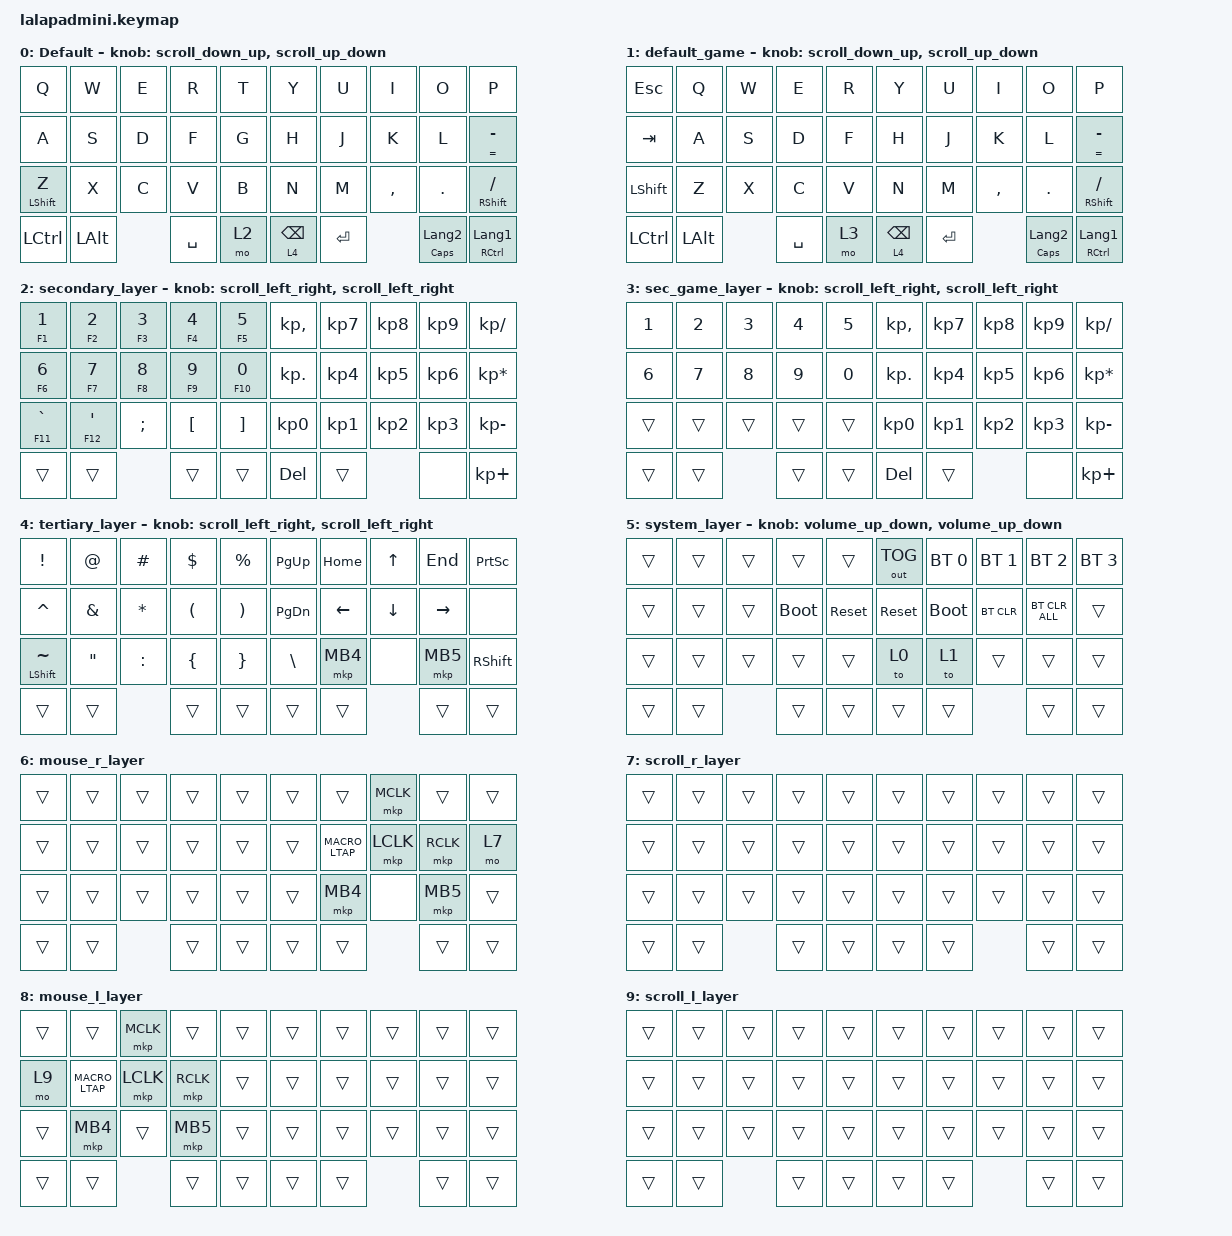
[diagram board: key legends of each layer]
#include <input/processors.dtsi>
#include <behaviors.dtsi>
#include <dt-bindings/zmk/bt.h>
#include <dt-bindings/zmk/keys.h>
#include <dt-bindings/zmk/outputs.h>
#include <dt-bindings/zmk/pointing.h>

#define DEFAULT_LAYER   0
#define SECONDARY_LAYER 2
#define TERTIARY_LAYER  4
#define SYSTEM_LAYER    5
#define MOUSE_R_LAYER   6
#define SCROLL_R_LAYER  7
#define MOUSE_L_LAYER   8
#define SCROLL_L_LAYER  9

// Mouse Scroll Value DUMMYDUMMYDUMMYDUMMYDUMMYDUMMYDUMMYDUMMYDUMMYDUMMYDUMMYDUMMYDUMMYDUMMYDUMMYbyFORKED

#define ZMK_POINTING_DEFAULT_SCRL_VAL 100

// cirque trackpad input&layer control

&glidepoint_listener_R {
    input-processors =
        <&zip_xy_transform (INPUT_TRANSFORM_XY_SWAP | INPUT_TRANSFORM_X_INVERT | INPUT_TRANSFORM_Y_INVERT)>,
        <&zip_xy_scaler 3 2>,
        <&zip_temp_layer MOUSE_R_LAYER 300>;

    lowspeedmode {
        layers = <SECONDARY_LAYER>;
        input-processors =
            <&zip_xy_transform (INPUT_TRANSFORM_XY_SWAP | INPUT_TRANSFORM_X_INVERT | INPUT_TRANSFORM_Y_INVERT)>,
            <&zip_xy_scaler 3 5>,
            <&zip_temp_layer MOUSE_R_LAYER 300>;
    };

    scroller {
        layers = <SCROLL_R_LAYER>;
        input-processors =
            <&zip_xy_to_scroll_mapper>,
            <&zip_scroll_transform (INPUT_TRANSFORM_XY_SWAP | INPUT_TRANSFORM_Y_INVERT)>,
            <&zip_scroll_scaler 1 8>;
    };
};

&glidepoint_listener_L {
    input-processors =
        <&zip_xy_transform (INPUT_TRANSFORM_XY_SWAP | INPUT_TRANSFORM_X_INVERT | INPUT_TRANSFORM_Y_INVERT)>,
        <&zip_xy_scaler 3 2>,
        <&zip_temp_layer MOUSE_L_LAYER 300>;

    lowspeedmode {
        layers = <SECONDARY_LAYER>;
        input-processors =
            <&zip_xy_transform (INPUT_TRANSFORM_XY_SWAP | INPUT_TRANSFORM_X_INVERT | INPUT_TRANSFORM_Y_INVERT)>,
            <&zip_xy_scaler 3 4>,
            <&zip_temp_layer MOUSE_L_LAYER 300>;
    };

    scroller {
        layers = <SCROLL_L_LAYER>;
        input-processors =
            <&zip_xy_to_scroll_mapper>,
            <&zip_scroll_transform (INPUT_TRANSFORM_XY_SWAP | INPUT_TRANSFORM_Y_INVERT)>,
            <&zip_scroll_scaler 1 6>;
    };
};

&mt { quick-tap-ms = <200>; };

&lt { quick-tap-ms = <200>; };

/ {
    behaviors {
        // Encoder to Mouse Scroll

        scroll_up_down: behavior_sensor_rotate_mouse_wheel_up_down {
            compatible = "zmk,behavior-sensor-rotate";
            #sensor-binding-cells = <0>;
            bindings = <&msc SCRL_UP>, <&msc SCRL_DOWN>;

            tap-ms = <20>;
        };

        scroll_down_up: behavior_sensor_rotate_mouse_wheel_down_up {
            compatible = "zmk,behavior-sensor-rotate";
            #sensor-binding-cells = <0>;
            bindings = <&msc SCRL_DOWN>, <&msc SCRL_UP>;

            tap-ms = <20>;
        };

        scroll_left_right: behavior_sensor_rotate_mouse_wheel_left_right {
            compatible = "zmk,behavior-sensor-rotate";
            #sensor-binding-cells = <0>;
            bindings = <&msc SCRL_LEFT>, <&msc SCRL_RIGHT>;

            tap-ms = <20>;
        };

        scroll_right_left: behavior_sensor_rotate_mouse_wheel_right_left {
            compatible = "zmk,behavior-sensor-rotate";
            #sensor-binding-cells = <0>;
            bindings = <&msc SCRL_RIGHT>, <&msc SCRL_LEFT>;

            tap-ms = <20>;
        };

        volume_up_down: behavior_sensor_rotate_volume_up_down {
            compatible = "zmk,behavior-sensor-rotate";
            #sensor-binding-cells = <0>;
            bindings = <&kp C_VOLUME_UP>, <&kp C_VOLUME_DOWN>;

            tap-ms = <20>;
        };

        mt2: mod_tap2 {
            compatible = "zmk,behavior-hold-tap";
            #binding-cells = <2>;
            flavor = "tap-preferred";
            tapping-term-ms = <200>;
            quick-tap-ms = <200>;
            require-prior-idle-ms = <125>;
            bindings = <&kp>, <&kp>;
        };

        tap_dance_layer_1and2: tap_dance_layer_1and2 {
            compatible = "zmk,behavior-tap-dance";
            label = "td_mo12";
            #binding-cells = <0>;
            bindings = <&mo 2>, <&mo 4>;
        };
    };

    combos {
        compatible = "zmk,combos";

        CONBO_ESC {
            bindings = <&kp ESCAPE>;
            key-positions = <0 1>;
        };

        COMBO_TAB {
            bindings = <&kp TAB>;
            key-positions = <10 11>;
        };

        COMBO_WIN {
            bindings = <&kp LWIN>;
            key-positions = <30 31>;
        };
    };

    macros {
        MACRO_LTAP: MACRO_LTAP {
            compatible = "zmk,behavior-macro";
            #binding-cells = <0>;
            bindings = <&mkp LCLK>;
            label = "MACRO_LTAP";
        };
    };

    keymap {
        compatible = "zmk,keymap";

        DEFAULT_LAYER {
            display-name = "Default";
            sensor-bindings = <&scroll_down_up>, <&scroll_up_down>;

            bindings = <
&kp Q             &kp W         &kp E  &kp R      &kp T  &kp Y            &kp U      &kp I      &kp O                    &kp P
&kp A             &kp S         &kp D  &kp F      &kp G  &kp H            &kp J      &kp K      &kp L                    &mt2 EQUAL MINUS
&mt LEFT_SHIFT Z  &kp X         &kp C  &kp V      &kp B  &kp N            &kp M      &kp COMMA  &kp PERIOD               &mt RSHIFT SLASH
&kp LCTRL         &kp LEFT_ALT         &kp SPACE  &mo 2  &lt 4 BACKSPACE  &kp ENTER             &mt CAPSLOCK LANGUAGE_2  &mt RCTRL LANGUAGE_1
            >;
        };

        DEF_GAME {
            display-name = "default_game";
            bindings = <
&kp ESC    &kp Q         &kp W  &kp E      &kp R  &kp Y            &kp U      &kp I      &kp O                    &kp P
&kp TAB    &kp A         &kp S  &kp D      &kp F  &kp H            &kp J      &kp K      &kp L                    &mt2 EQUAL MINUS
&kp LSHFT  &kp Z         &kp X  &kp C      &kp V  &kp N            &kp M      &kp COMMA  &kp PERIOD               &mt RSHIFT SLASH
&kp LCTRL  &kp LEFT_ALT         &kp SPACE  &mo 3  &lt 4 BACKSPACE  &kp ENTER             &mt CAPSLOCK LANGUAGE_2  &mt RCTRL LANGUAGE_1
            >;

            sensor-bindings = <&scroll_down_up>, <&scroll_up_down>;
        };

        SECONDARY_LAYER {
            display-name = "secondary_layer";
            sensor-bindings = <&scroll_left_right>, <&scroll_left_right>;

            bindings = <
&mt2 F1 NUMBER_1  &mt2 F2 NUMBER_2  &mt2 F3 NUMBER_3  &mt2 F4 NUMBER_4  &mt2 F5 N5         &kp KP_COMMA     &kp KP_NUMBER_7  &kp KP_NUMBER_8  &kp KP_NUMBER_9  &kp KP_DIVIDE
&mt2 F6 NUMBER_6  &mt2 F7 N7        &mt2 F8 N8        &mt2 F9 N9        &mt2 F10 N0        &kp KP_DOT       &kp KP_NUMBER_4  &kp KP_NUMBER_5  &kp KP_NUMBER_6  &kp KP_ASTERISK
&mt2 F11 GRAVE    &mt2 F12 SQT      &kp SEMICOLON     &kp LEFT_BRACKET  &kp RIGHT_BRACKET  &kp KP_NUMBER_0  &kp KP_NUMBER_1  &kp KP_NUMBER_2  &kp KP_NUMBER_3  &kp KP_MINUS
&trans            &trans                              &trans            &trans             &kp DELETE       &trans                            &none            &kp KP_PLUS
            >;
        };

        SEC_GAME {
            display-name = "sec_game_layer";
            bindings = <
&kp N1  &kp N2  &kp N3  &kp N4  &kp N5  &kp KP_COMMA     &kp KP_NUMBER_7  &kp KP_NUMBER_8  &kp KP_NUMBER_9  &kp KP_DIVIDE
&kp N6  &kp N7  &kp N8  &kp N9  &kp N0  &kp KP_DOT       &kp KP_NUMBER_4  &kp KP_NUMBER_5  &kp KP_NUMBER_6  &kp KP_ASTERISK
&trans  &trans  &trans  &trans  &trans  &kp KP_NUMBER_0  &kp KP_NUMBER_1  &kp KP_NUMBER_2  &kp KP_NUMBER_3  &kp KP_MINUS
&trans  &trans          &trans  &trans  &kp DELETE       &trans                            &none            &kp KP_PLUS
            >;

            sensor-bindings = <&scroll_left_right>, <&scroll_left_right>;
        };

        TERTIARY_LAYER {
            display-name = "tertiary_layer";
            bindings = <
&kp EXCLAMATION       &kp AT_SIGN        &kp HASH      &kp DOLLAR            &kp PERCENT            &kp PAGE_UP    &kp HOME  &kp UP_ARROW  &kp END    &kp PRINTSCREEN
&kp CARET             &kp AMPERSAND      &kp ASTERISK  &kp LEFT_PARENTHESIS  &kp RIGHT_PARENTHESIS  &kp PAGE_DOWN  &kp LEFT  &kp DOWN      &kp RIGHT  &none
&mt LEFT_SHIFT TILDE  &kp DOUBLE_QUOTES  &kp COLON     &kp LEFT_BRACE        &kp RIGHT_BRACE        &kp BACKSLASH  &mkp MB4  &none         &mkp MB5   &kp RIGHT_SHIFT
&trans                &trans                           &trans                &trans                 &trans         &trans                  &trans     &trans
            >;

            sensor-bindings = <&scroll_left_right>, <&scroll_left_right>;
        };

        SYSTEM_LAYER {
            display-name = "system_layer";
            sensor-bindings = <&volume_up_down>, <&volume_up_down>;

            bindings = <
&trans  &trans  &trans  &trans       &trans      &out OUT_TOG  &bt BT_SEL 0  &bt BT_SEL 1  &bt BT_SEL 2    &bt BT_SEL 3
&trans  &trans  &trans  &bootloader  &sys_reset  &sys_reset    &bootloader   &bt BT_CLR    &bt BT_CLR_ALL  &trans
&trans  &trans  &trans  &trans       &trans      &to 0         &to 1         &trans        &trans          &trans
&trans  &trans          &trans       &trans      &trans        &trans                      &trans          &trans
            >;
        };

        MOUSE_R_LAYER {
            display-name = "mouse_r_layer";
            bindings = <
&trans  &trans  &trans  &trans  &trans  &trans  &trans       &mkp MCLK  &trans     &trans
&trans  &trans  &trans  &trans  &trans  &trans  &MACRO_LTAP  &mkp LCLK  &mkp RCLK  &mo 7
&trans  &trans  &trans  &trans  &trans  &trans  &mkp MB4     &none      &mkp MB5   &trans
&trans  &trans          &trans  &trans  &trans  &trans                  &trans     &trans
            >;
        };

        SCROLL_R_LAYER {
            display-name = "scroll_r_layer";
            bindings = <
&trans  &trans  &trans  &trans  &trans  &trans  &trans  &trans  &trans  &trans
&trans  &trans  &trans  &trans  &trans  &trans  &trans  &trans  &trans  &trans
&trans  &trans  &trans  &trans  &trans  &trans  &trans  &trans  &trans  &trans
&trans  &trans          &trans  &trans  &trans  &trans          &trans  &trans
            >;
        };

        MOUSE_L_LAYER {
            display-name = "mouse_l_layer";
            bindings = <
&trans  &trans       &mkp MCLK  &trans     &trans  &trans  &trans  &trans  &trans  &trans
&mo 9   &MACRO_LTAP  &mkp LCLK  &mkp RCLK  &trans  &trans  &trans  &trans  &trans  &trans
&trans  &mkp MB4     &trans     &mkp MB5   &trans  &trans  &trans  &trans  &trans  &trans
&trans  &trans                  &trans     &trans  &trans  &trans          &trans  &trans
            >;
        };

        SCROLL_L_LAYER {
            display-name = "scroll_l_layer";
            bindings = <
&trans  &trans  &trans  &trans  &trans  &trans  &trans  &trans  &trans  &trans
&trans  &trans  &trans  &trans  &trans  &trans  &trans  &trans  &trans  &trans
&trans  &trans  &trans  &trans  &trans  &trans  &trans  &trans  &trans  &trans
&trans  &trans          &trans  &trans  &trans  &trans          &trans  &trans
            >;
        };
    };

    conditional_layers {
        compatible = "zmk,conditional-layers";

        System_layer {
            if-layers = <2 4>;
            then-layer = <5>;
        };

        sys {
            if-layers = <4 3>;
            then-layer = <5>;
        };
    };
};
